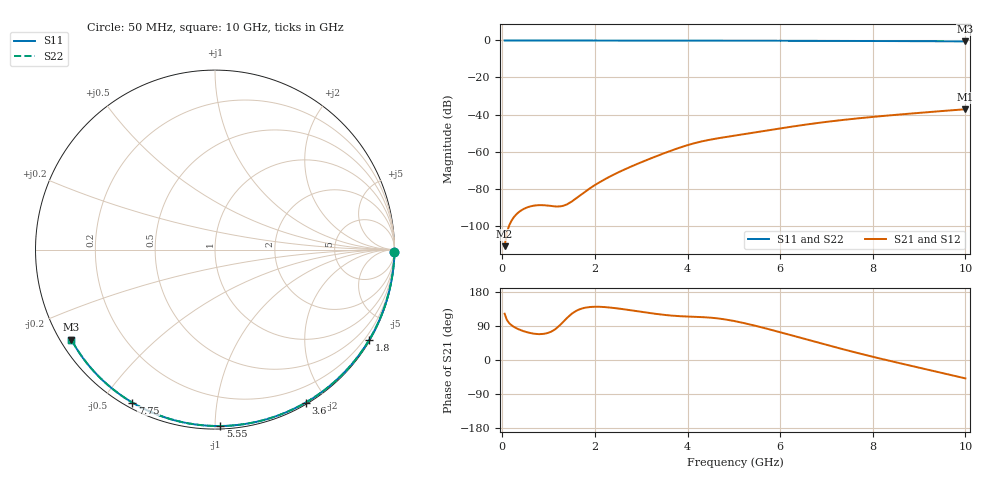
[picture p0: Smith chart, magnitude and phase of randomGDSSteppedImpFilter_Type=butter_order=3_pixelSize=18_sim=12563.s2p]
! freq	dB(S11)	phase(S11)	dB(S12)	phase(S12)
!  dB(S21)	phase(S21)	dB(S22)	phase(S22)
!S-par simulation data
#  GHz  S  DB  R 50
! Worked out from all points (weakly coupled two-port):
!   200 points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, 50 MHz to 10 GHz, reference 50 ohm
!   highest |S21| = -37.15 dB at 10 GHz (marker M1); lowest = -111.1 dB at 50 MHz (marker M2)
!   lowest |S11| = -0.5 dB at 10 GHz (marker M3), VSWR 34.99, Z = 1.55 - j14.4 ohm
!   |S11| at or under -10 dB: nowhere
!   |S22| runs from -0.5 to 0.0 dB; largest |S21 - S12| = 0
!   S11 on the Smith chart (normalised r, x): 50 MHz: open; 1.8 GHz: 0.03, -3.68; 3.6 GHz: 0.02, -1.76; 5.55 GHz: 0.02, -1.03; 7.75 GHz: 0.02, -0.60; 10 GHz: 0.03, -0.29
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0.05  -0.00 -0.9  -111.07 122.2  -111.07 122.2  -0.00 -0.9
0.9  -0.02 -15.3  -88.96 69.1  -88.96 69.1  -0.02 -15.3
1.75  -0.04 -29.6  -82.32 136.9  -82.32 136.9  -0.04 -29.6
1.8  -0.04 -30.4  -81.41 138.2  -81.41 138.2  -0.04 -30.4
1.85  -0.04 -31.2  -80.54 139.2  -80.54 139.2  -0.04 -31.2
1.9  -0.04 -32.1  -79.69 139.9  -79.69 139.9  -0.04 -32.1
2.2  -0.05 -37.0  -75.14 139.7  -75.14 139.7  -0.05 -37.0
2.5  -0.05 -41.9  -71.29 135.9  -71.29 135.9  -0.05 -41.9
2.9  -0.06 -48.3  -66.81 129.0  -66.81 129.0  -0.06 -48.3
3.4  -0.07 -56.2  -61.78 120.5  -61.78 120.5  -0.07 -56.2
3.6  -0.08 -59.3  -59.90 117.8  -59.90 117.8  -0.08 -59.3
3.95  -0.09 -64.7  -56.91 114.9  -56.91 114.9  -0.09 -64.7
4.25  -0.10 -69.2  -54.84 113.5  -54.84 113.5  -0.10 -69.2
4.55  -0.11 -73.7  -53.29 111.1  -53.29 111.1  -0.11 -73.7
5.05  -0.13 -81.0  -51.26 101.8  -51.26 101.8  -0.13 -81.0
5.55  -0.15 -88.2  -49.28 87.7  -49.28 87.7  -0.15 -88.2
6.1  -0.17 -96.0  -47.10 70.0  -47.10 70.0  -0.17 -96.0
6.7  -0.20 -104.3  -44.93 49.9  -44.93 49.9  -0.20 -104.3
7.75  -0.28 -118.4  -41.88 16.1  -41.88 16.1  -0.28 -118.4
8.35  -0.32 -126.3  -40.48 -1.8  -40.48 -1.8  -0.32 -126.3
9.2  -0.40 -137.4  -38.69 -25.7  -38.69 -25.7  -0.40 -137.4
10  -0.50 -147.9  -37.15 -48.5  -37.15 -48.5  -0.50 -147.9
